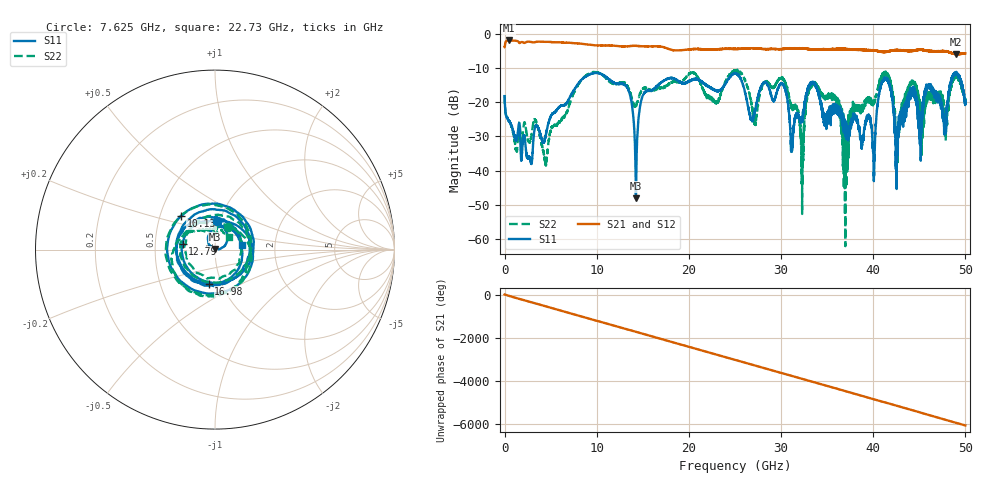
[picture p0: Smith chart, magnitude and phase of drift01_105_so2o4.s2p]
!Created with skrf (http://scikit-rf.org).
# Hz S RI R 50.0
!freq ReS11 ImS11 ReS21 ImS21 ReS12 ImS12 ReS22 ImS22
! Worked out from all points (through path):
!   10001 points, 300 kHz to 50 GHz, reference 50 ohm
!   highest |S21| = -2.00 dB at 490.3 MHz (marker M1); lowest = -6.1 dB at 48.98 GHz (marker M2)
!   group delay of S21, straight-line fit = 336 ps
!   lowest |S11| = -48.1 dB at 14.25 GHz (marker M3), VSWR 1.01, Z = 50.1 + j0.388 ohm
!   |S11| at or under -10 dB: start of sweep to end of sweep
!   |S22| runs from -62.0 to -10.6 dB; largest |S21 - S12| = 0.023
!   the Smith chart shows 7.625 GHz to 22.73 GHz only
!   S11 on the Smith chart (normalised r, x): 7.625 GHz: 0.97, +0.31; 10.13 GHz: 0.64, +0.26; 12.79 GHz: 0.69, +0.04; 16.98 GHz: 0.87, -0.34; 22.73 GHz: 1.35, +0.06
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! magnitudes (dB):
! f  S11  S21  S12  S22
! 300 kHz  -18.2  -4.0  -4.1  -18.0
! 490.3 MHz  -25.6  -2.0  -2.0  -25.5
! 4.445 GHz  -29.9  -2.4  -2.4  -37.5
! 7.625 GHz  -16.1  -2.8  -2.8  -16.7
! 8.335 GHz  -13.5  -3.0  -3.0  -13.5
! 10.13 GHz  -11.5  -3.5  -3.4  -11.4
! 12.79 GHz  -14.7  -3.8  -3.7  -14.3
! 14.25 GHz  -48.1  -3.6  -3.6  -21.2
! 16.67 GHz  -14.9  -3.7  -3.7  -15.8
! 16.98 GHz  -14.2  -3.8  -3.8  -15.6
! 22.73 GHz  -16.4  -4.6  -4.6  -19.7
! 25 GHz  -11.6  -4.5  -4.5  -11.1
! 27.15 GHz  -22.5  -4.3  -4.3  -25.9
! 30.21 GHz  -14.9  -4.5  -4.5  -13.2
! 32.26 GHz  -25.2  -4.3  -4.4  -38.3
! 33.34 GHz  -14.2  -4.6  -4.6  -14.5
! 37.04 GHz  -26.9  -4.5  -4.5  -31.0
! 40.06 GHz  -41.2  -4.9  -4.9  -20.2
! 41.67 GHz  -14.1  -5.1  -5.1  -12.8
! 42.56 GHz  -35.1  -4.8  -4.8  -28.7
! 48.98 GHz  -11.5  -6.1  -6.0  -12.6
! 50 GHz  -19.6  -5.8  -5.8  -19.6
